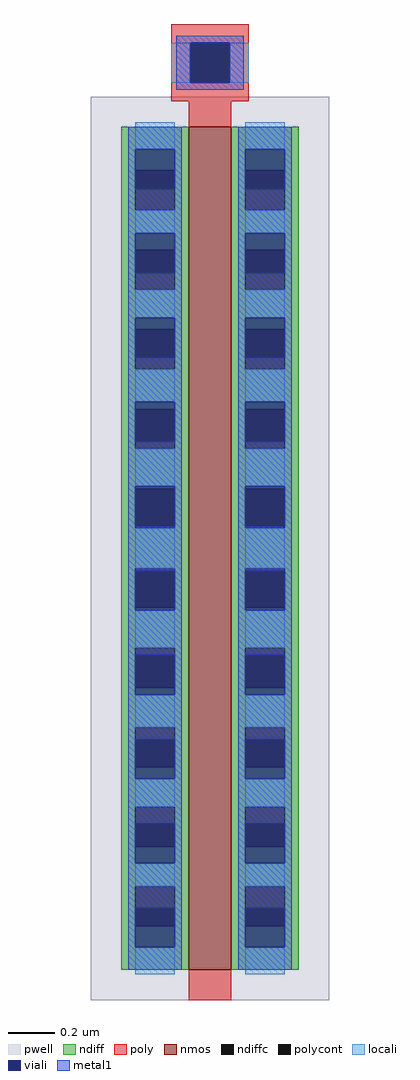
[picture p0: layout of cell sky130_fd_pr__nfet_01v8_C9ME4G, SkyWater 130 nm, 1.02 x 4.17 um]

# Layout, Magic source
magic
tech sky130A
magscale 1 2
<< pwell >>
rect -102 -417 102 355
<< nmos >>
rect -18 -391 18 329
<< ndiff >>
rect -76 292 -18 329
rect -76 258 -64 292
rect -30 258 -18 292
rect -76 224 -18 258
rect -76 190 -64 224
rect -30 190 -18 224
rect -76 156 -18 190
rect -76 122 -64 156
rect -30 122 -18 156
rect -76 88 -18 122
rect -76 54 -64 88
rect -30 54 -18 88
rect -76 20 -18 54
rect -76 -14 -64 20
rect -30 -14 -18 20
rect -76 -48 -18 -14
rect -76 -82 -64 -48
rect -30 -82 -18 -48
rect -76 -116 -18 -82
rect -76 -150 -64 -116
rect -30 -150 -18 -116
rect -76 -184 -18 -150
rect -76 -218 -64 -184
rect -30 -218 -18 -184
rect -76 -252 -18 -218
rect -76 -286 -64 -252
rect -30 -286 -18 -252
rect -76 -320 -18 -286
rect -76 -354 -64 -320
rect -30 -354 -18 -320
rect -76 -391 -18 -354
rect 18 292 76 329
rect 18 258 30 292
rect 64 258 76 292
rect 18 224 76 258
rect 18 190 30 224
rect 64 190 76 224
rect 18 156 76 190
rect 18 122 30 156
rect 64 122 76 156
rect 18 88 76 122
rect 18 54 30 88
rect 64 54 76 88
rect 18 20 76 54
rect 18 -14 30 20
rect 64 -14 76 20
rect 18 -48 76 -14
rect 18 -82 30 -48
rect 64 -82 76 -48
rect 18 -116 76 -82
rect 18 -150 30 -116
rect 64 -150 76 -116
rect 18 -184 76 -150
rect 18 -218 30 -184
rect 64 -218 76 -184
rect 18 -252 76 -218
rect 18 -286 30 -252
rect 64 -286 76 -252
rect 18 -320 76 -286
rect 18 -354 30 -320
rect 64 -354 76 -320
rect 18 -391 76 -354
<< ndiffc >>
rect -64 258 -30 292
rect -64 190 -30 224
rect -64 122 -30 156
rect -64 54 -30 88
rect -64 -14 -30 20
rect -64 -82 -30 -48
rect -64 -150 -30 -116
rect -64 -218 -30 -184
rect -64 -286 -30 -252
rect -64 -354 -30 -320
rect 30 258 64 292
rect 30 190 64 224
rect 30 122 64 156
rect 30 54 64 88
rect 30 -14 64 20
rect 30 -82 64 -48
rect 30 -150 64 -116
rect 30 -218 64 -184
rect 30 -286 64 -252
rect 30 -354 64 -320
<< poly >>
rect -33 401 33 417
rect -33 367 -17 401
rect 17 367 33 401
rect -33 351 33 367
rect -18 329 18 351
rect -18 -417 18 -391
<< polycont >>
rect -17 367 17 401
<< locali >>
rect -33 367 -17 401
rect 17 367 33 401
rect -64 310 -30 333
rect -64 238 -30 258
rect -64 166 -30 190
rect -64 94 -30 122
rect -64 22 -30 54
rect -64 -48 -30 -14
rect -64 -116 -30 -84
rect -64 -184 -30 -156
rect -64 -252 -30 -228
rect -64 -320 -30 -300
rect -64 -395 -30 -372
rect 30 310 64 333
rect 30 238 64 258
rect 30 166 64 190
rect 30 94 64 122
rect 30 22 64 54
rect 30 -48 64 -14
rect 30 -116 64 -84
rect 30 -184 64 -156
rect 30 -252 64 -228
rect 30 -320 64 -300
rect 30 -395 64 -372
<< viali >>
rect -17 367 17 401
rect -64 292 -30 310
rect -64 276 -30 292
rect -64 224 -30 238
rect -64 204 -30 224
rect -64 156 -30 166
rect -64 132 -30 156
rect -64 88 -30 94
rect -64 60 -30 88
rect -64 20 -30 22
rect -64 -12 -30 20
rect -64 -82 -30 -50
rect -64 -84 -30 -82
rect -64 -150 -30 -122
rect -64 -156 -30 -150
rect -64 -218 -30 -194
rect -64 -228 -30 -218
rect -64 -286 -30 -266
rect -64 -300 -30 -286
rect -64 -354 -30 -338
rect -64 -372 -30 -354
rect 30 292 64 310
rect 30 276 64 292
rect 30 224 64 238
rect 30 204 64 224
rect 30 156 64 166
rect 30 132 64 156
rect 30 88 64 94
rect 30 60 64 88
rect 30 20 64 22
rect 30 -12 64 20
rect 30 -82 64 -50
rect 30 -84 64 -82
rect 30 -150 64 -122
rect 30 -156 64 -150
rect 30 -218 64 -194
rect 30 -228 64 -218
rect 30 -286 64 -266
rect 30 -300 64 -286
rect 30 -354 64 -338
rect 30 -372 64 -354
<< metal1 >>
rect -29 401 29 407
rect -29 367 -17 401
rect 17 367 29 401
rect -29 361 29 367
rect -70 310 -24 329
rect -70 276 -64 310
rect -30 276 -24 310
rect -70 238 -24 276
rect -70 204 -64 238
rect -30 204 -24 238
rect -70 166 -24 204
rect -70 132 -64 166
rect -30 132 -24 166
rect -70 94 -24 132
rect -70 60 -64 94
rect -30 60 -24 94
rect -70 22 -24 60
rect -70 -12 -64 22
rect -30 -12 -24 22
rect -70 -50 -24 -12
rect -70 -84 -64 -50
rect -30 -84 -24 -50
rect -70 -122 -24 -84
rect -70 -156 -64 -122
rect -30 -156 -24 -122
rect -70 -194 -24 -156
rect -70 -228 -64 -194
rect -30 -228 -24 -194
rect -70 -266 -24 -228
rect -70 -300 -64 -266
rect -30 -300 -24 -266
rect -70 -338 -24 -300
rect -70 -372 -64 -338
rect -30 -372 -24 -338
rect -70 -391 -24 -372
rect 24 310 70 329
rect 24 276 30 310
rect 64 276 70 310
rect 24 238 70 276
rect 24 204 30 238
rect 64 204 70 238
rect 24 166 70 204
rect 24 132 30 166
rect 64 132 70 166
rect 24 94 70 132
rect 24 60 30 94
rect 64 60 70 94
rect 24 22 70 60
rect 24 -12 30 22
rect 64 -12 70 22
rect 24 -50 70 -12
rect 24 -84 30 -50
rect 64 -84 70 -50
rect 24 -122 70 -84
rect 24 -156 30 -122
rect 64 -156 70 -122
rect 24 -194 70 -156
rect 24 -228 30 -194
rect 64 -228 70 -194
rect 24 -266 70 -228
rect 24 -300 30 -266
rect 64 -300 70 -266
rect 24 -338 70 -300
rect 24 -372 30 -338
rect 64 -372 70 -338
rect 24 -391 70 -372
<< end >>
